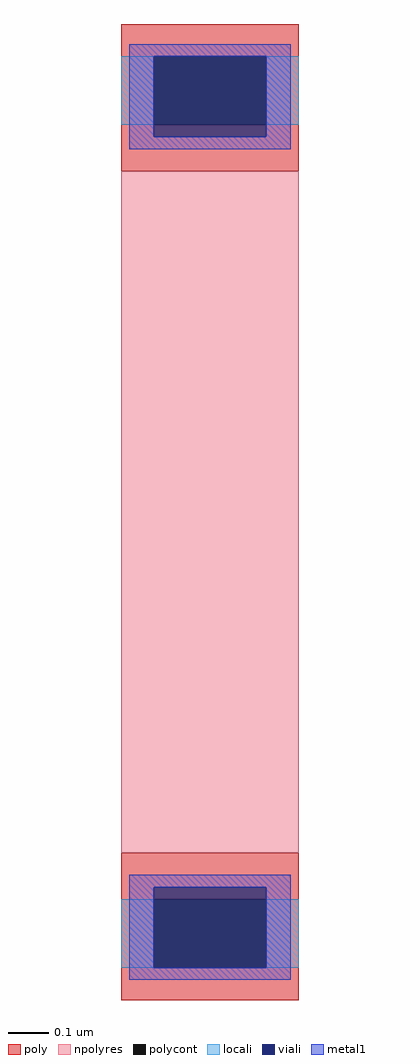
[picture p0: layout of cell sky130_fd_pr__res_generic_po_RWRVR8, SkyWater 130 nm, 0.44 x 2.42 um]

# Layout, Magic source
magic
tech sky130A
magscale 1 2
<< poly >>
rect -44 226 44 242
rect -44 192 -28 226
rect 28 192 44 226
rect -44 169 44 192
rect -44 -192 44 -169
rect -44 -226 -28 -192
rect 28 -226 44 -192
rect -44 -242 44 -226
<< polycont >>
rect -28 192 28 226
rect -28 -226 28 -192
<< npolyres >>
rect -44 -169 44 169
<< locali >>
rect -44 192 -28 226
rect 28 192 44 226
rect -44 -226 -28 -192
rect 28 -226 44 -192
<< viali >>
rect -28 192 28 226
rect -28 186 28 192
rect -28 -192 28 -186
rect -28 -226 28 -192
<< metal1 >>
rect -40 226 40 232
rect -40 186 -28 226
rect 28 186 40 226
rect -40 180 40 186
rect -40 -186 40 -180
rect -40 -226 -28 -186
rect 28 -226 40 -186
rect -40 -232 40 -226
<< properties >>
string gencell sky130_fd_pr__res_generic_po
string library sky130
string parameters w 0.440 l 1.69 m 1 nx 1 wmin 0.330 lmin 1.650 rho 48.2 val 185.131 dummy 0 dw 0.0 term 0.0 sterm 0.0 caplen 0.4 snake 0 guard 0 glc 1 grc 1 gtc 1 gbc 1 roverlap 0 endcov 100 full_metal 1 hv_guard 0 n_guard 0 vias 1 viagb 0 viagt 0 viagl 0 viagr 0
<< end >>
